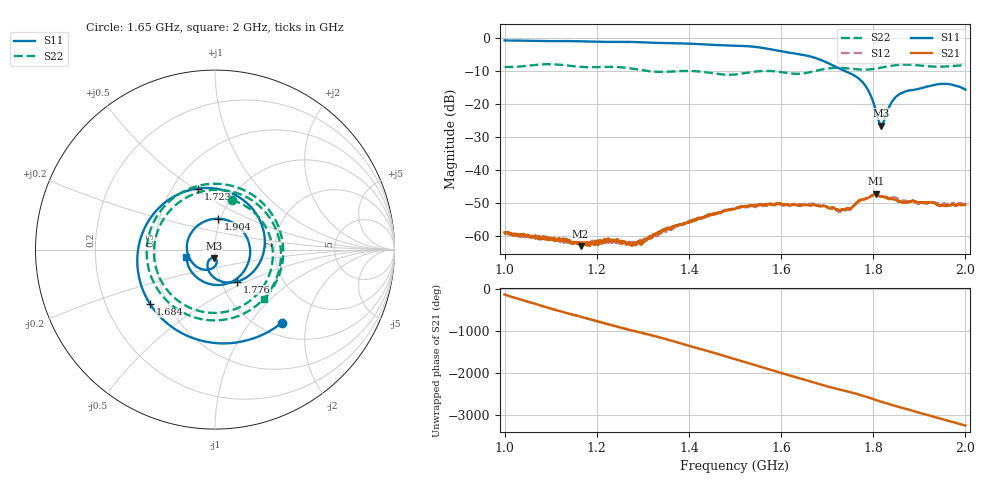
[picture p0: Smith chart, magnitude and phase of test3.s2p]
!Keysight Technologies N9923A: A.08.15
!Date: Wednesday, 14 February 2024 18:10:37
!Timezone: (GMT-05:00) Eastern Time (US & Canada)
!Model: N9923A
!Serial: MY52412730
!GPS Latitude:
!GPS Longitude:
!GPS TimeStamp: 0001-01-01 00:00:00Z
!GPS Seconds Since Last Read: 0
!CHECKSUM:0274398115
!Correction: S11(ON Q)S21(ON Q)S12(ON Q)S22(ON Q)
!S2P File: Measurements:S11,S21,S12,S22:
# Hz S DB R 50
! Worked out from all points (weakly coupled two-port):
!   1601 points, 1 GHz to 2 GHz, reference 50 ohm
!   highest |S21| = -47.31 dB at 1.806 GHz (marker M1); lowest = -63.2 dB at 1.165 GHz (marker M2)
!   lowest |S11| = -26.6 dB at 1.817 GHz (marker M3), VSWR 1.10, Z = 49.1 - j4.57 ohm
!   |S11| at or under -10 dB: 1.738 GHz to end of sweep
!   |S22| runs from -11.2 to -7.9 dB; largest |S21 - S12| = 0.00033
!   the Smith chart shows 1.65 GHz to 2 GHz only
!   S11 on the Smith chart (normalised r, x): 1.65 GHz: 1.24, -1.45; 1.684 GHz: 0.40, -0.31; 1.723 GHz: 0.67, +0.52; 1.776 GHz: 1.19, -0.44; 1.904 GHz: 0.98, +0.35; 2 GHz: 0.72, -0.06
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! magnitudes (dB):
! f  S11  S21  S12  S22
! 1 GHz  -0.7  -59.1  -58.8  -8.8
! 1.165 GHz  -1.0  -63.2  -61.8  -8.8
! 1.167 GHz  -1.0  -62.4  -61.9  -8.8
! 1.225 GHz  -1.2  -60.8  -61.9  -8.8
! 1.279 GHz  -1.2  -62.3  -62.0  -9.3
! 1.334 GHz  -1.5  -59.5  -59.7  -10.3
! 1.5 GHz  -2.3  -51.8  -51.7  -11.1
! 1.564 GHz  -3.1  -50.7  -50.9  -10.0
! 1.65 GHz  -5.2  -50.7  -50.4  -10.7
! 1.667 GHz  -5.7  -50.8  -50.5  -10.2
! 1.684 GHz  -6.5  -51.1  -50.9  -9.7
! 1.723 GHz  -9.0  -52.1  -52.6  -9.0
! 1.75 GHz  -10.7  -51.8  -52.3  -9.3
! 1.776 GHz  -13.3  -49.0  -49.1  -9.6
! 1.792 GHz  -16.8  -48.2  -48.1  -9.5
! 1.806 GHz  -22.0  -47.3  -47.4  -9.3
! 1.817 GHz  -26.6  -48.0  -48.1  -9.0
! 1.834 GHz  -21.2  -48.7  -48.6  -8.5
! 1.856 GHz  -17.1  -49.6  -49.1  -8.1
! 1.904 GHz  -15.2  -50.0  -50.2  -8.4
! 1.956 GHz  -13.9  -50.8  -50.4  -8.7
! 2 GHz  -15.7  -50.6  -50.2  -8.2
